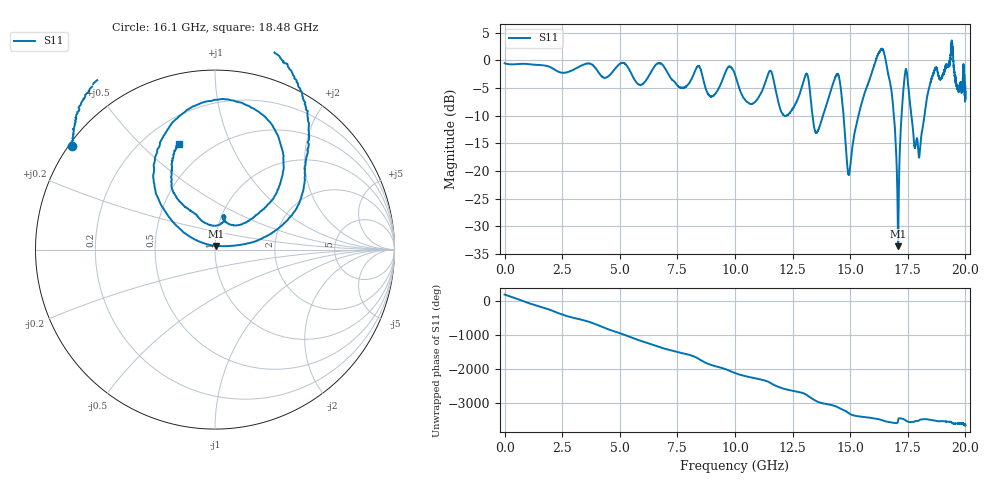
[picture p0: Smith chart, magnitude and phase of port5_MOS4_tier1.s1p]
! Created with skrf 1.8.0 (http://scikit-rf.org).
# GHz S RI R 50.0
!freq ReS11 ImS11
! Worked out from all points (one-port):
!   10001 points, 1 MHz to 20 GHz, reference 50 ohm
!   lowest |S11| = -33.6 dB at 17.08 GHz (marker M1), VSWR 1.04, Z = 50.5 + j2.04 ohm
!   |S11| at or under -10 dB: 13.36 GHz to 13.82 GHz (453.9 MHz wide, 3.34 % of centre); 14.71 GHz to 15.36 GHz (645.9 MHz wide, 4.3 % of centre); 17.66 GHz to 18.22 GHz (565.3 MHz wide, 3.15 % of centre) (the widest 3 of 7)
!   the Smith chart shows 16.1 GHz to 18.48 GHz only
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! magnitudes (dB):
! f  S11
! 1 MHz  -0.5
! 2.501 GHz  -2.2
! 5.001 GHz  -0.6
! 6.767 GHz  -0.5
! 7.501 GHz  -4.6
! 8.417 GHz  -1.0
! 9.003 GHz  -6.5
! 10 GHz  -2.6
! 10.7 GHz  -7.9
! 11.54 GHz  -1.9
! 12.06 GHz  -9.6
! 12.5 GHz  -8.7
! 13.11 GHz  -2.4
! 13.57 GHz  -13.0
! 14.45 GHz  -2.5
! 14.88 GHz  -19.4
! 15 GHz  -19.2
! 15.49 GHz  -7.9
! 16.37 GHz  2.1
! 16.8 GHz  -5.9
! 17.08 GHz  -33.6
! 17.33 GHz  -4.3
! 17.5 GHz  -3.7
! 17.94 GHz  -15.5
! 18.67 GHz  -1.6
! 19.39 GHz  2.3
! 19.65 GHz  -5.0
! 20 GHz  -4.7
